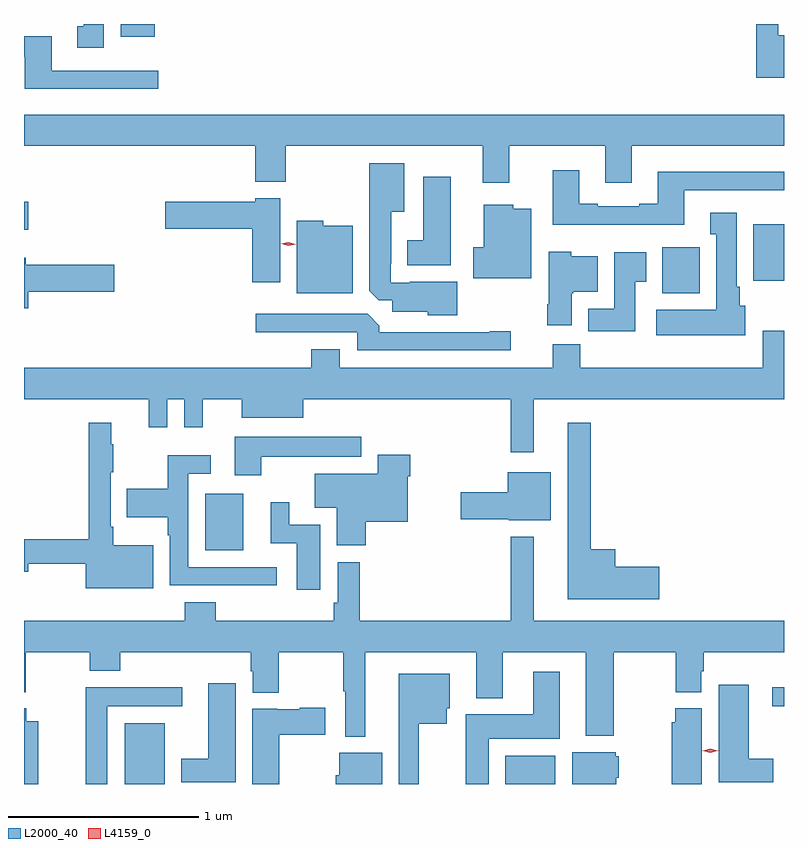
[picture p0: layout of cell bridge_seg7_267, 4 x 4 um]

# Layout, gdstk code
import gdstk
lib = gdstk.Library(unit=1e-6, precision=1e-09)
def R(c, l, rs):  # rectangles x0, y0, x1, y1
    for r in rs: c.add(gdstk.rectangle(r[:2], r[2:], *l))
def P(c, l, *ps):  # polygons
    for p in ps: c.add(gdstk.Polygon(p, *l))
L2000_40 = (2000, 40)
L4159_0 = (4159, 0)

bridge_seg7_267 = lib.new_cell('bridge_seg7_267')
R(bridge_seg7_267, L2000_40, [(144.92,1025.23,145.132,1025.551), (146.924,1025.23,147.187,1025.38), (148.329,1025.64,148.39,1025.738), (145.343,1026.461,145.543,1026.757), (147.749,1027.814,147.946,1028.056), (148.229,1027.88,148.39,1028.176), (144.39,1028.147,144.412,1028.295), (144.899,1029.164,145.078,1029.23)])
P(bridge_seg7_267, L2000_40, [(144.811,1029.23),(144.704,1029.23),(144.704,1029.218),(144.671,1029.218),(144.671,1029.105),(144.811,1029.105)],
  [(148.39,1029.171),(148.359,1029.171),(148.359,1029.23),(148.243,1029.23),(148.243,1028.946),(148.39,1028.946)],
  [(145.096,1028.985),(144.535,1028.985),(144.535,1029.166),(144.39,1029.166),(144.39,1029.057),(144.395,1029.057),(144.395,1028.888),(145.096,1028.888)],
  [(146.944,1028.588),(147.449,1028.588),(147.449,1028.394),(147.589,1028.394),(147.589,1028.588),(148.39,1028.588),(148.39,1028.752),(144.39,1028.752),(144.39,1028.588),(145.607,1028.588),(145.607,1028.399),(145.767,1028.399),(145.767,1028.588),(146.804,1028.588),(146.804,1028.394),(146.944,1028.394)],
  [(146.671,1027.873),(146.419,1027.873),(146.419,1027.869),(146.319,1027.869),(146.319,1027.969),(146.323,1027.969),(146.323,1028.243),(146.392,1028.243),(146.392,1028.497),(146.207,1028.497),(146.207,1027.825),(146.256,1027.776),(146.327,1027.776),(146.327,1027.715),(146.514,1027.715),(146.514,1027.697),(146.671,1027.697)],
  [(147.865,1028.355),(148.39,1028.355),(148.39,1028.452),(147.725,1028.452),(147.725,1028.284),(147.629,1028.284),(147.629,1028.271),(147.409,1028.271),(147.409,1028.284),(147.313,1028.284),(147.313,1028.461),(147.173,1028.461),(147.173,1028.174),(147.865,1028.174)],
  [(146.635,1028.425),(146.492,1028.425),(146.492,1028.092),(146.408,1028.092),(146.408,1027.961),(146.635,1027.961)],
  [(145.738,1028.314),(145.608,1028.314),(145.608,1028.295),(145.134,1028.295),(145.134,1028.153),(145.592,1028.153),(145.592,1027.872),(145.738,1027.872)],
  [(147.061,1028.257),(146.964,1028.257),(146.964,1028.278),(146.81,1028.278),(146.81,1028.055),(146.754,1028.055),(146.754,1027.892),(147.061,1027.892)],
  [(148.186,1027.746),(148.156,1027.746),(148.156,1027.846),(148.141,1027.846),(148.141,1028.236),(148.001,1028.236),(148.001,1028.123),(148.034,1028.123),(148.034,1027.726),(147.717,1027.726),(147.717,1027.592),(148.186,1027.592)],
  [(146.119,1028.167),(145.965,1028.167),(145.965,1028.194),(145.826,1028.194),(145.826,1027.814),(146.119,1027.814)],
  [(147.274,1027.814),(147.28,1027.814),(147.28,1027.82),(147.409,1027.82),(147.409,1028.008),(147.27,1028.008),(147.27,1028.032),(147.152,1028.032),(147.152,1027.756),(147.145,1027.756),(147.145,1027.644),(147.274,1027.644)],
  [(147.607,1027.873),(147.664,1027.873),(147.664,1028.029),(147.497,1028.029),(147.497,1027.732),(147.359,1027.732),(147.359,1027.614),(147.607,1027.614)],
  [(144.413,1027.822),(144.865,1027.822),(144.865,1027.964),(144.4,1027.964),(144.4,1027.999),(144.39,1027.999),(144.39,1027.733),(144.413,1027.733)],
  [(146.953,1027.613),(146.84,1027.613),(146.84,1027.608),(146.261,1027.608),(146.261,1027.642),(146.199,1027.704),(145.611,1027.704),(145.611,1027.608),(146.145,1027.608),(146.145,1027.512),(146.953,1027.512)],
  [(147.073,1027.256),(148.39,1027.256),(148.39,1027.615),(148.277,1027.615),(148.277,1027.42),(147.317,1027.42),(147.317,1027.544),(147.173,1027.544),(147.173,1027.42),(146.053,1027.42),(146.053,1027.519),(145.901,1027.519),(145.901,1027.42),(144.39,1027.42),(144.39,1027.256),(145.046,1027.256),(145.046,1027.107),(145.143,1027.107),(145.143,1027.256),(145.233,1027.256),(145.233,1027.107),(145.331,1027.107),(145.331,1027.256),(145.535,1027.256),(145.535,1027.157),(145.861,1027.157),(145.861,1027.256),(146.952,1027.256),(146.952,1026.975),(147.073,1026.975)],
  [(145.069,1026.487),(144.859,1026.487),(144.859,1026.583),(144.846,1026.583),(144.846,1026.871),(144.859,1026.871),(144.859,1027.019),(144.848,1027.019),(144.848,1027.132),(144.73,1027.132),(144.73,1026.518),(144.39,1026.518),(144.39,1026.347),(144.412,1026.347),(144.412,1026.39),(144.716,1026.39),(144.716,1026.26),(145.069,1026.26)],
  [(147.733,1026.374),(147.502,1026.374),(147.502,1026.466),(147.373,1026.466),(147.373,1027.132),(147.251,1027.132),(147.251,1026.203),(147.733,1026.203)],
  [(145.639,1026.953),(146.164,1026.953),(146.164,1027.057),(145.499,1027.057),(145.499,1026.855),(145.639,1026.855)],
  [(146.189,1026.611),(146.41,1026.611),(146.41,1026.851),(146.423,1026.851),(146.423,1026.964),(146.252,1026.964),(146.252,1026.862),(145.919,1026.862),(145.919,1026.683),(146.036,1026.683),(146.036,1026.486),(146.189,1026.486)],
  [(145.72,1026.372),(145.254,1026.372),(145.254,1026.864),(145.372,1026.864),(145.372,1026.961),(145.146,1026.961),(145.146,1026.783),(144.931,1026.783),(144.931,1026.635),(145.146,1026.635),(145.146,1026.539),(145.158,1026.539),(145.158,1026.276),(145.483,1026.276),(145.483,1026.275),(145.72,1026.275)],
  [(147.163,1026.871),(146.936,1026.871),(146.936,1026.765),(146.688,1026.765),(146.688,1026.623),(146.94,1026.623),(146.94,1026.617),(147.163,1026.617)],
  [(145.948,1026.594),(145.786,1026.594),(145.786,1026.712),(145.688,1026.712),(145.688,1026.498),(145.826,1026.498),(145.826,1026.252),(145.948,1026.252)],
  [(146.185,1025.924),(146.771,1025.924),(146.771,1025.681),(146.911,1025.681),(146.911,1025.924),(147.347,1025.924),(147.347,1025.483),(147.495,1025.483),(147.495,1025.924),(147.82,1025.924),(147.82,1025.713),(147.955,1025.713),(147.955,1025.823),(147.968,1025.823),(147.968,1025.924),(148.39,1025.924),(148.39,1026.088),(147.073,1026.088),(147.073,1026.532),(146.952,1026.532),(146.952,1026.088),(146.156,1026.088),(146.156,1026.397),(146.04,1026.397),(146.04,1026.184),(146.02,1026.184),(146.02,1026.088),(145.4,1026.088),(145.4,1026.187),(145.235,1026.187),(145.235,1026.088),(144.39,1026.088),(144.39,1025.713),(144.399,1025.713),(144.399,1025.924),(144.736,1025.924),(144.736,1025.825),(144.896,1025.825),(144.896,1025.924),(145.583,1025.924),(145.583,1025.823),(145.595,1025.823),(145.595,1025.711),(145.731,1025.711),(145.731,1025.924),(146.071,1025.924),(146.071,1025.719),(146.081,1025.719),(146.081,1025.48),(146.185,1025.48)],
  [(146.836,1025.468),(147.211,1025.468),(147.211,1025.821),(147.071,1025.821),(147.071,1025.596),(146.714,1025.596),(146.714,1025.23),(146.836,1025.23)],
  [(146.467,1025.546),(146.614,1025.546),(146.614,1025.628),(146.632,1025.628),(146.632,1025.809),(146.363,1025.809),(146.363,1025.23),(146.467,1025.23)],
  [(145.504,1025.761),(145.361,1025.761),(145.361,1025.362),(145.217,1025.362),(145.217,1025.24),(145.504,1025.24)],
  [(148.333,1025.362),(148.204,1025.362),(148.204,1025.752),(148.046,1025.752),(148.046,1025.24),(148.333,1025.24)],
  [(144.829,1025.64),(145.222,1025.64),(145.222,1025.738),(144.716,1025.738),(144.716,1025.23),(144.829,1025.23)],
  [(145.734,1025.489),(145.975,1025.489),(145.975,1025.631),(145.842,1025.631),(145.842,1025.623),(145.722,1025.623),(145.722,1025.626),(145.592,1025.626),(145.592,1025.23),(145.734,1025.23)],
  [(144.466,1025.56),(144.402,1025.56),(144.402,1025.628),(144.39,1025.628),(144.39,1025.23),(144.466,1025.23)],
  [(147.958,1025.628),(147.817,1025.628),(147.817,1025.556),(147.8,1025.556),(147.8,1025.23),(147.958,1025.23)],
  [(147.508,1025.262),(147.52,1025.262),(147.52,1025.376),(147.504,1025.376),(147.504,1025.398),(147.275,1025.398),(147.275,1025.23),(147.508,1025.23)],
  [(146.275,1025.395),(146.048,1025.395),(146.048,1025.277),(146.03,1025.277),(146.03,1025.23),(146.275,1025.23)])
P(bridge_seg7_267, L4159_0, [(148.003,1025.395),(147.963,1025.404),(147.963,1025.405),(147.963,1025.405),(148.003,1025.415),(148.042,1025.405),(148.043,1025.405),(148.042,1025.404)],
  [(145.781,1028.062),(145.743,1028.073),(145.743,1028.073),(145.743,1028.073),(145.782,1028.082),(145.82,1028.071),(145.82,1028.071),(145.82,1028.071)])

lib.write_gds('bridge_seg7_267.gds')
